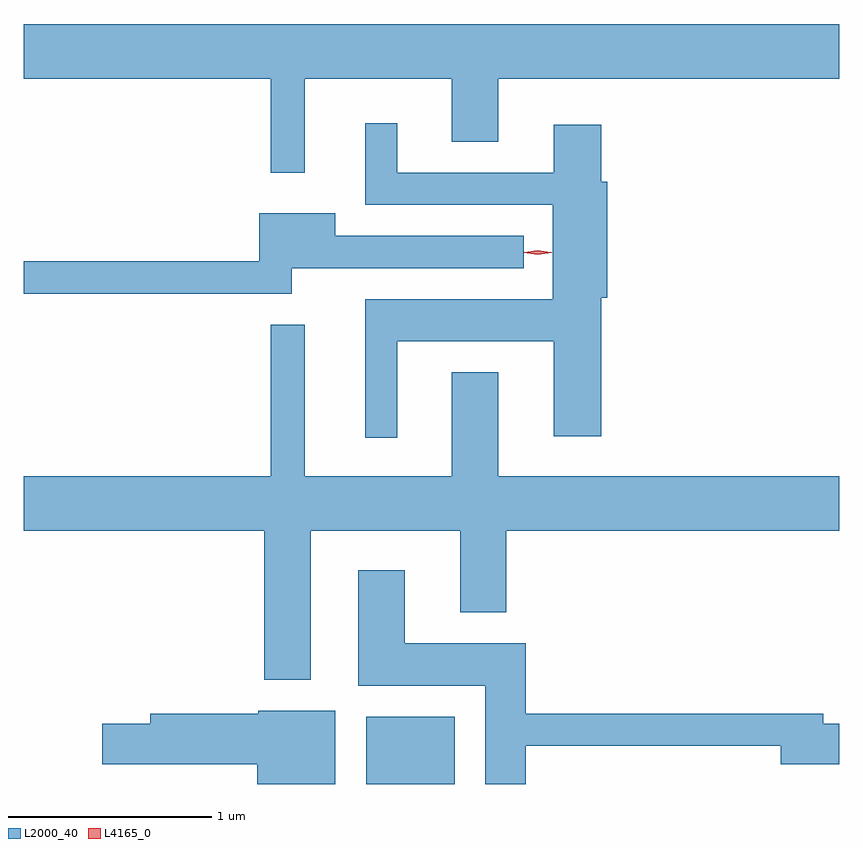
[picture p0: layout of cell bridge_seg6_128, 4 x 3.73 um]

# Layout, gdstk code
import gdstk
lib = gdstk.Library(unit=1e-6, precision=1e-09)
def R(c, l, rs):  # rectangles x0, y0, x1, y1
    for r in rs: c.add(gdstk.rectangle(r[:2], r[2:], *l))
def P(c, l, *ps):  # polygons
    for p in ps: c.add(gdstk.Polygon(p, *l))
L2000_40 = (2000, 40)
L4165_0 = (4165, 0)

bridge_seg6_128 = lib.new_cell('bridge_seg6_128')
R(bridge_seg6_128, L2000_40, [(1165.981,1615.394,1166.414,1615.724)])
P(bridge_seg6_128, L2000_40, [(1165.679,1618.856),(1166.401,1618.856),(1166.401,1618.546),(1166.629,1618.546),(1166.629,1618.856),(1168.301,1618.856),(1168.301,1619.124),(1164.301,1619.124),(1164.301,1618.856),(1165.511,1618.856),(1165.511,1618.393),(1165.679,1618.393)],
  [(1166.134,1617.566),(1166.901,1617.566),(1166.901,1617.101),(1167.134,1617.101),(1167.134,1617.781),(1167.164,1617.781),(1167.164,1618.349),(1167.134,1618.349),(1167.134,1618.629),(1166.901,1618.629),(1166.901,1618.394),(1166.134,1618.394),(1166.134,1618.638),(1165.976,1618.638),(1165.976,1618.236),(1166.896,1618.236),(1166.896,1617.774),(1165.976,1617.774),(1165.976,1617.093),(1166.134,1617.093)],
  [(1165.614,1617.926),(1166.753,1617.926),(1166.753,1618.084),(1165.829,1618.084),(1165.829,1618.194),(1165.456,1618.194),(1165.456,1617.959),(1164.301,1617.959),(1164.301,1617.801),(1165.614,1617.801)],
  [(1165.709,1616.636),(1166.441,1616.636),(1166.441,1616.236),(1166.669,1616.236),(1166.669,1616.636),(1168.301,1616.636),(1168.301,1616.904),(1166.629,1616.904),(1166.629,1617.414),(1166.401,1617.414),(1166.401,1616.904),(1165.679,1616.904),(1165.679,1617.648),(1165.511,1617.648),(1165.511,1616.904),(1164.301,1616.904),(1164.301,1616.636),(1165.481,1616.636),(1165.481,1615.906),(1165.709,1615.906)],
  [(1166.764,1615.581),(1168.016,1615.581),(1168.016,1615.491),(1168.301,1615.491),(1168.301,1615.689),(1168.224,1615.689),(1168.224,1615.739),(1166.764,1615.739),(1166.764,1616.084),(1166.169,1616.084),(1166.169,1616.444),(1165.941,1616.444),(1165.941,1615.876),(1166.566,1615.876),(1166.566,1615.394),(1166.764,1615.394)],
  [(1165.829,1615.754),(1165.45,1615.754),(1165.45,1615.739),(1164.921,1615.739),(1164.921,1615.689),(1164.686,1615.689),(1164.686,1615.491),(1165.446,1615.491),(1165.446,1615.394),(1165.829,1615.394)])
P(bridge_seg6_128, L4165_0, [(1166.823,1617.992),(1166.754,1618.002),(1166.754,1618.002),(1166.754,1618.003),(1166.823,1618.012),(1166.891,1618.003),(1166.892,1618.002),(1166.891,1618.002)],
  [(1166.822,1617.993),(1166.757,1618.002),(1166.757,1618.003),(1166.757,1618.003),(1166.822,1618.013),(1166.887,1618.003),(1166.887,1618.003),(1166.887,1618.002)])

lib.write_gds('bridge_seg6_128.gds')
